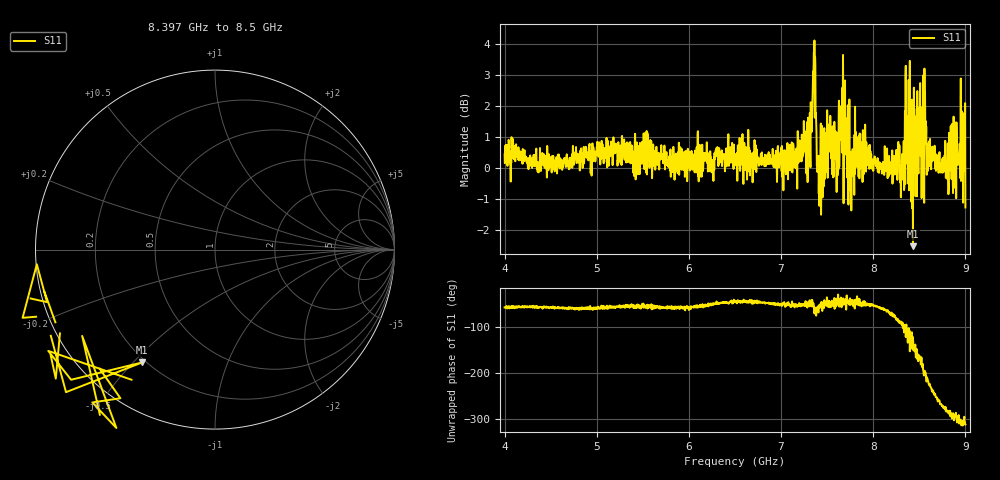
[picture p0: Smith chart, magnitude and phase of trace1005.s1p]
! Created with skrf 1.8.0 (http://scikit-rf.org).
# Hz S RI R 50.0
!freq ReS11 ImS11
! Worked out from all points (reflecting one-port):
!   1601 points, 4 GHz to 9 GHz, reference 50 ohm
!   lowest |S11| = -2.5 dB at 8.431 GHz (marker M1), VSWR 6.93, Z = 9.3 - j26.5 ohm
!   phase of S11 starts at -58 deg and turns -255 deg over the sweep
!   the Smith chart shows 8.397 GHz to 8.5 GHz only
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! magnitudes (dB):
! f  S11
! 4 GHz  0.4
! 4.625 GHz  -0.1
! 5.25 GHz  0.2
! 5.875 GHz  0.3
! 6.5 GHz  0.2
! 7.125 GHz  0.3
! 7.294 GHz  1.6
! 7.356 GHz  3.8
! 7.372 GHz  3.3
! 7.4 GHz  0.2
! 7.412 GHz  -0.1
! 7.516 GHz  0.5
! 7.591 GHz  1.2
! 7.669 GHz  1.3
! 7.75 GHz  -0.3
! 7.769 GHz  0.1
! 7.822 GHz  0.5
! 8.312 GHz  0.5
! 8.334 GHz  -0.7
! 8.375 GHz  0.9
! 8.412 GHz  -1.1
! 8.431 GHz  -2.5
! 8.512 GHz  0.9
! 8.522 GHz  1.1
! 8.606 GHz  0.1
! 8.794 GHz  0.2
! 8.972 GHz  0.6
! 9 GHz  -1.3
